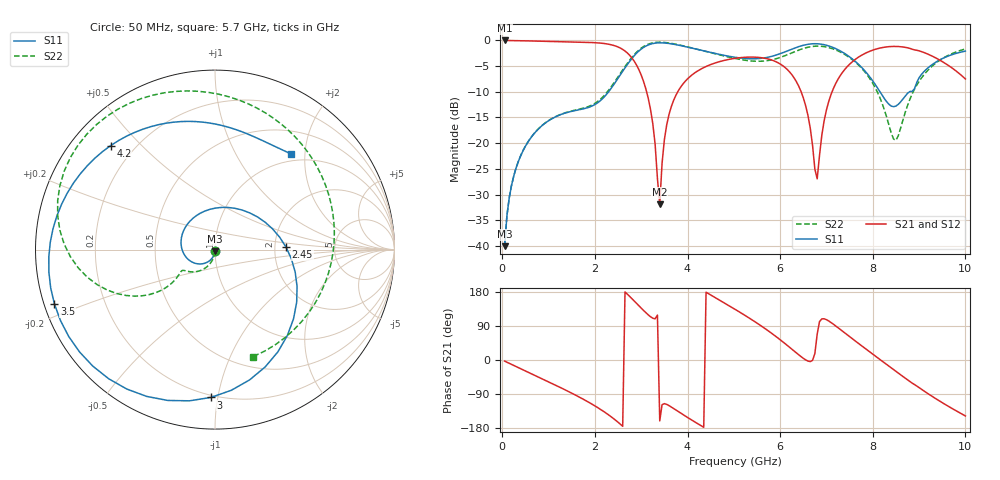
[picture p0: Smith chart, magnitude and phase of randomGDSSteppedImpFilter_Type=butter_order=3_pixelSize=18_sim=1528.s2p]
! freq	dB(S11)	phase(S11)	dB(S12)	phase(S12)
!  dB(S21)	phase(S21)	dB(S22)	phase(S22)
!S-par simulation data
#  GHz  S  DB  R 50
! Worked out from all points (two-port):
!   200 points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, 50 MHz to 10 GHz, reference 50 ohm
!   highest |S21| = -0.01 dB at 50 MHz (marker M1); lowest = -31.9 dB at 3.4 GHz (marker M2)
!   |S21| within 3 dB of the highest: start of sweep to 2.761 GHz; 7.736 GHz to 9.272 GHz (1.536 GHz wide, 18.1 % of centre)
!   lowest |S11| = -40.1 dB at 50 MHz (marker M3), VSWR 1.02, Z = 49.9 - j0.992 ohm
!   |S11| at or under -10 dB: start of sweep to 2.295 GHz; 8.156 GHz to 8.793 GHz (636.7 MHz wide, 7.51 % of centre)
!   |S22| runs from -40.0 to -0.3 dB; largest |S21 - S12| = 0
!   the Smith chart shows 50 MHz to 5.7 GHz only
!   S11 on the Smith chart (normalised r, x): 50 MHz: 1.00, -0.02; 2.45 GHz: 2.31, +0.07; 3 GHz: 0.19, -0.96; 3.5 GHz: 0.03, -0.16; 4.2 GHz: 0.12, +0.41; 5.7 GHz: 0.87, +1.73
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0.05  -40.05 -92.6  -0.01 -2.9  -0.01 -2.9  -40.04 -91.3
0.2  -28.20 -104.1  -0.03 -11.6  -0.03 -11.6  -28.18 -98.7
0.5  -20.59 -126.2  -0.08 -28.8  -0.08 -28.8  -20.56 -112.2
1.75  -13.32 119.0  -0.35 -103.6  -0.35 -103.6  -13.18 -147.5
2.45  -8.04 1.9  -1.10 -159.2  -1.10 -159.2  -7.76 -144.1
2.75  -4.07 -49.9  -2.89 167.9  -2.89 167.9  -3.84 -159.5
3  -1.68 -91.6  -6.74 136.9  -6.74 136.9  -1.50 177.9
3.25  -0.61 -129.5  -16.21 110.2  -16.21 110.2  -0.47 152.5
3.4  -0.46 -149.3  -31.88 -160.6  -31.88 -160.6  -0.35 138.0
3.5  -0.50 -161.3  -19.32 -115.1  -19.32 -115.1  -0.39 128.9
4.2  -1.72 135.1  -6.05 -166.6  -6.05 -166.6  -1.70 73.5
5.05  -3.32 82.1  -3.45 132.0  -3.45 132.0  -3.55 3.3
5.7  -3.34 51.6  -3.53 80.7  -3.53 80.7  -3.97 -70.7
6.15  -2.06 28.1  -5.63 38.9  -5.63 38.9  -2.80 -135.4
6.7  -0.66 -13.8  -20.45 -0.9  -20.45 -0.9  -1.17 140.6
6.8  -0.65 -22.4  -26.95 68.5  -26.95 68.5  -1.11 125.9
7.05  -1.07 -43.9  -11.85 102.9  -11.85 102.9  -1.40 91.0
7.5  -3.20 -78.6  -4.63 61.6  -4.63 61.6  -3.35 35.0
8.35  -12.44 -97.1  -1.21 -16.4  -1.21 -16.4  -16.50 -87.8
8.5  -12.78 -82.2  -1.17 -30.0  -1.17 -30.0  -19.45 -153.6
9.05  -6.64 -70.5  -2.17 -77.1  -2.17 -77.1  -7.33 87.6
10  -2.08 -135.3  -7.50 -147.7  -7.50 -147.7  -1.65 12.6
